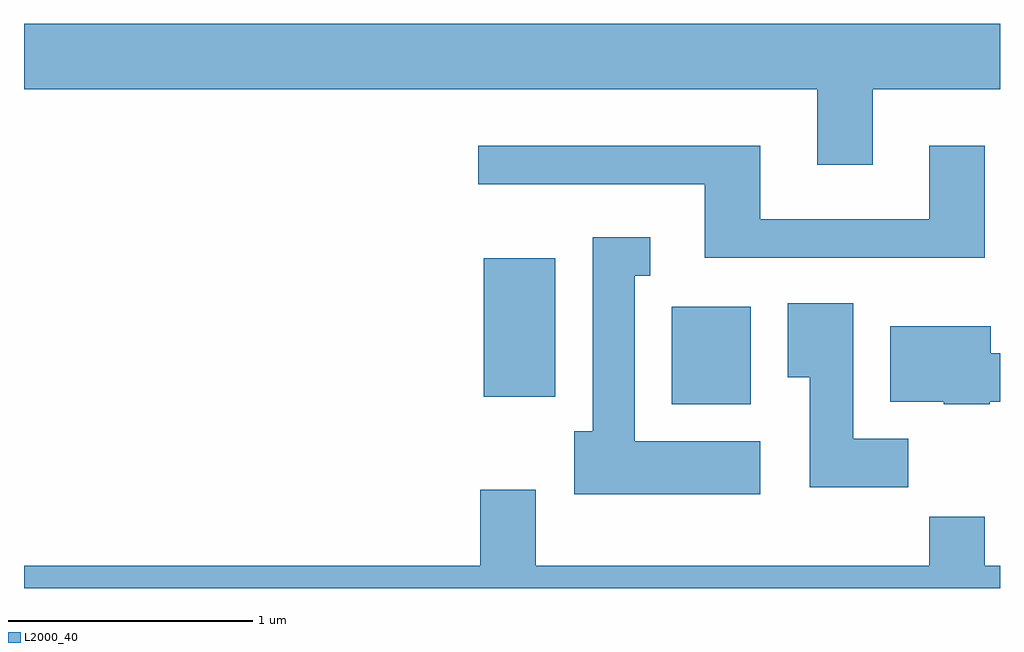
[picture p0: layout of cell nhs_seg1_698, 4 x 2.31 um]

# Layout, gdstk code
import gdstk
lib = gdstk.Library(unit=1e-6, precision=1e-09)
def R(c, l, rs):  # rectangles x0, y0, x1, y1
    for r in rs: c.add(gdstk.rectangle(r[:2], r[2:], *l))
def P(c, l, *ps):  # polygons
    for p in ps: c.add(gdstk.Polygon(p, *l))
L2000_40 = (2000, 40)

nhs_seg1_698 = lib.new_cell('nhs_seg1_698')
R(nhs_seg1_698, L2000_40, [(208.266,940.466,208.589,940.864), (207.496,940.496,207.789,941.064)])
P(nhs_seg1_698, L2000_40, [(209.089,941.756),(209.611,941.756),(209.611,942.024),(205.611,942.024),(205.611,941.756),(208.861,941.756),(208.861,941.446),(209.089,941.446)],
  [(209.549,941.524),(209.321,941.524),(209.321,941.224),(208.629,941.224),(208.629,941.524),(207.473,941.524),(207.473,941.366),(208.401,941.366),(208.401,941.066),(209.549,941.066)],
  [(208.629,940.314),(208.114,940.314),(208.114,940.991),(208.178,940.991),(208.178,941.149),(207.941,941.149),(207.941,940.354),(207.866,940.354),(207.866,940.096),(208.629,940.096)],
  [(209.234,940.324),(209.009,940.324),(209.009,940.879),(208.741,940.879),(208.741,940.576),(208.831,940.576),(208.831,940.126),(209.234,940.126)],
  [(209.57,940.476),(209.611,940.476),(209.611,940.674),(209.574,940.674),(209.574,940.784),(209.161,940.784),(209.161,940.476),(209.38,940.476),(209.38,940.466),(209.57,940.466)],
  [(209.611,939.804),(209.549,939.804),(209.549,940.004),(209.321,940.004),(209.321,939.804),(207.709,939.804),(207.709,940.114),(207.481,940.114),(207.481,939.804),(205.611,939.804),(205.611,939.712),(209.611,939.712)])

lib.write_gds('nhs_seg1_698.gds')
